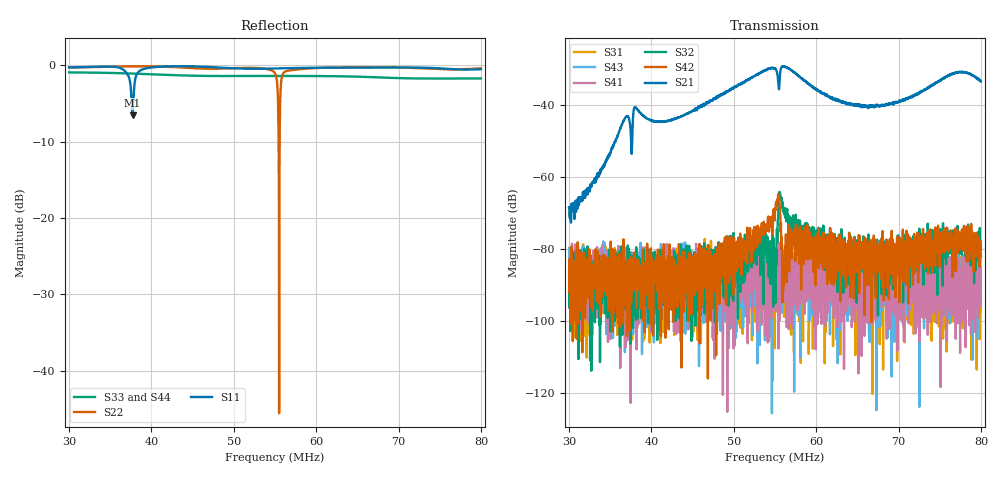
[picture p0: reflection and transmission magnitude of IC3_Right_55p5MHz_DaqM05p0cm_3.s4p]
#  HZ  S  DB  R  50.00
! Rohde & Schwarz Vector Network Analyzer
! Rohde-Schwarz,ZNB8-4Port,1311601044102961,2.82
! Created: UTC 2/13/2019, 1:44:17 PM
! freq[Hz]  db:S11  ang:S11  db:S12  ang:S12  db:S13  ang:S13  db:S14  ang:S14
!  db:S21  ang:S21  db:S22  ang:S22  db:S23  ang:S23  db:S24  ang:S24
!  db:S31  ang:S31  db:S32  ang:S32  db:S33  ang:S33  db:S34  ang:S34
!  db:S41  ang:S41  db:S42  ang:S42  db:S43  ang:S43  db:S44  ang:S44
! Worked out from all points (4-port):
!   2001 points, 30 MHz to 80 MHz, reference 50 ohm
!   strongest paths, dB at 30 MHz, 42.5 MHz, 55 MHz, 67.5 MHz, 80 MHz:
!     S21: -68.3, -44.1, -29.8, -40.0, -33.3
!     S42: -91.7, -88.1, -69.4, -78.7, -80.0
!     S32: -86.1, -84.8, -90.7, -98.4, -81.8
!     S41: -89.5, -85.4, -85.2, -89.2, -84.9
!     S43: -85.1, -86.8, -81.9, -87.6, -87.8
!     S31: -87.9, -87.8, -87.1, -98.6, -91.0
!   lowest |S11| = -6.6 dB at 37.7 MHz (marker M1), VSWR 2.77, Z = 108 - j52.2 ohm
!   |S11| at or under -10 dB: nowhere
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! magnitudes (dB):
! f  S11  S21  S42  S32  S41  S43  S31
! 30 MHz  -0.3  -68.3  -91.7  -86.1  -89.5  -85.1  -87.9
! 37.7 MHz  -6.6  -46.3  -84.4  -85.3  -91.0  -92.4  -92.3
! 51.3 MHz  -0.4  -33.3  -83.1  -88.7  -90.1  -90.3  -90.1
! 54.95 MHz  -0.4  -29.7  -72.0  -80.8  -81.1  -88.2  -107.5
! 55.67 MHz  -0.4  -30.2  -73.5  -65.1  -82.6  -90.9  -82.5
! 60.58 MHz  -0.3  -36.1  -81.1  -74.2  -90.5  -91.4  -99.0
! 80 MHz  -0.5  -33.3  -80.0  -81.8  -84.9  -87.8  -91.0
